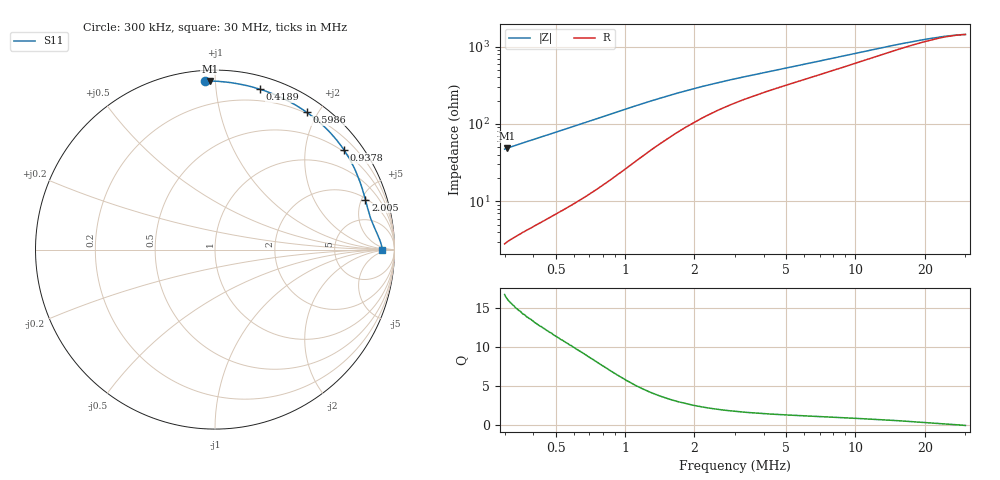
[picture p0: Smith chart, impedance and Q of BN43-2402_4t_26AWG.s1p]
! frequency  re(S11)  im(S11)
# Hz  S RI R 50
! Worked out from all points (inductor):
!   401 points, 300 kHz to 30 MHz, reference 50 ohm
!   read as one part to ground: L = 25 uH near 307 kHz
!   highest Q = 16.2 at 307 kHz (marker M1), where L = 25.1 uH
!   self-resonance near 29.55 MHz
!   S11 on the Smith chart (normalised r, x): 300 kHz: 0.06, +0.94; 418.9 kHz: 0.10, +1.31; 598.6 kHz: 0.19, +1.85; 937.8 kHz: 0.45, +2.87; 2.005 MHz: 2.11, +5.36; 30 MHz: 29, -0
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300000  -0.0536 0.9406
306987  -0.0295 0.9398
332752  0.0475 0.935
360679  0.1211 0.9249
418910  0.2502 0.8936
459326  0.3248 0.8667
503641  0.3942 0.8351
552231  0.4586 0.7993
598578  0.5104 0.7656
671615  0.5771 0.7136
753565  0.6346 0.6592
845514  0.6832 0.6039
937823  0.7192 0.5549
1153775  0.7723 0.4622
1387142  0.803 0.3902
1667712  0.8235 0.3294
2005031  0.8378 0.279
2382983  0.8478 0.2402
2832180  0.8564 0.2085
4046889  0.8727 0.1584
5586253  0.8875 0.124
7800473  0.9012 0.0942
1.153773e7  0.9142 0.064
1.52097e7  0.9214 0.0447
1.89287e7  0.9258 0.0299
2.27573e7  0.929 0.0178
2.643145e7  0.9311 0.00757
3e7  0.9326 -0.00104
